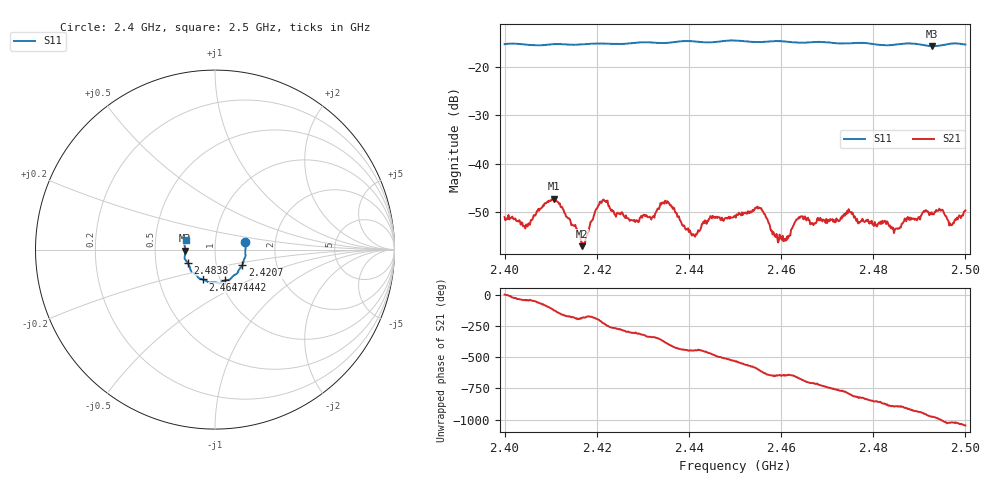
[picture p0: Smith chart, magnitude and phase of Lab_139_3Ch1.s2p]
# Hz S RI R 50
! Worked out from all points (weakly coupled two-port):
!   601 points, 2.4 GHz to 2.5 GHz, reference 50 ohm
!   highest |S21| = -47.23 dB at 2.4107 GHz (marker M1); lowest = -57.1 dB at 2.4168 GHz (marker M2)
!   lowest |S11| = -15.6 dB at 2.4928 GHz (marker M3), VSWR 1.40, Z = 35.8 - j0.415 ohm
!   |S11| at or under -10 dB: start of sweep to end of sweep
!   S12 and S22 are empty: the file has one direction only
!   S11 on the Smith chart (normalised r, x): 2.4 GHz: 1.40, +0.12; 2.4207 GHz: 1.33, -0.24; 2.4442 GHz: 1.05, -0.37; 2.4647 GHz: 0.83, -0.29; 2.4838 GHz: 0.73, -0.11; 2.5 GHz: 0.71, +0.07
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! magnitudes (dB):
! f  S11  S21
! 2.4 GHz  -15.2  -51.1
! 2.405 GHz  -15.4  -53.0
! 2.4107 GHz  -15.2  -47.2
! 2.4167 GHz  -15.3  -56.3
! 2.4168 GHz  -15.3  -57.1
! 2.4207 GHz  -15.1  -47.9
! 2.4287 GHz  -14.9  -51.7
! 2.4333 GHz  -15.0  -49.3
! 2.4353 GHz  -14.9  -47.8
! 2.441 GHz  -14.6  -54.6
! 2.4442 GHz  -14.9  -52.0
! 2.45 GHz  -14.5  -50.8
! 2.4552 GHz  -14.8  -49.1
! 2.4607 GHz  -14.7  -55.6
! 2.4647 GHz  -14.9  -50.9
! 2.4667 GHz  -14.8  -52.4
! 2.4748 GHz  -15.0  -49.9
! 2.4833 GHz  -15.5  -52.7
! 2.4838 GHz  -15.4  -53.4
! 2.4928 GHz  -15.6  -50.5
! 2.497 GHz  -15.1  -52.8
! 2.5 GHz  -15.3  -49.7
